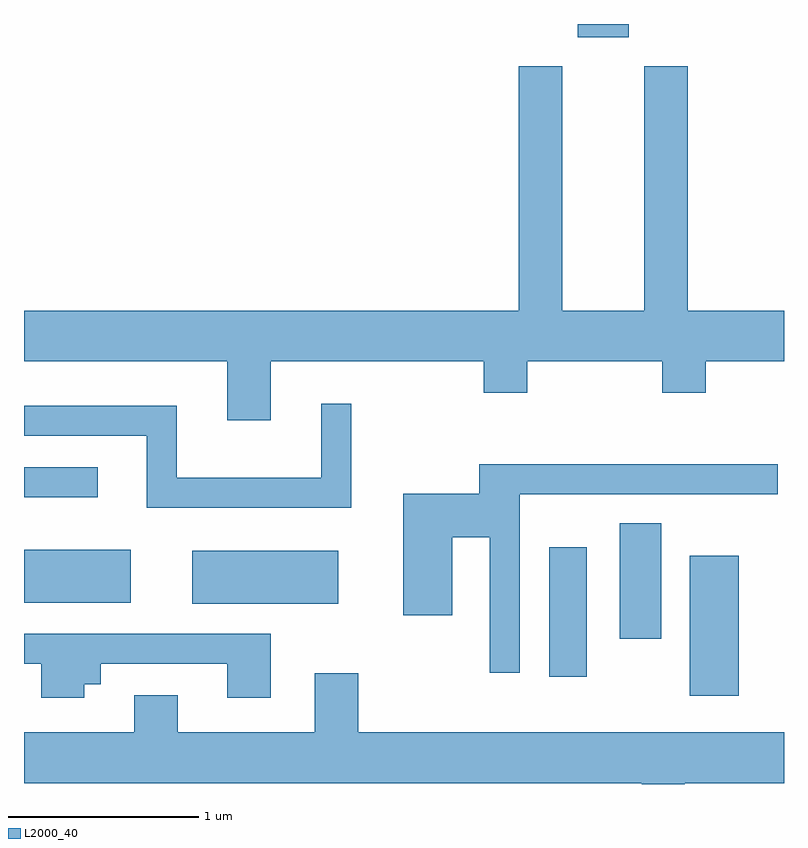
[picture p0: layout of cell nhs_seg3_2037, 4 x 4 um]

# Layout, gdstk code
import gdstk
lib = gdstk.Library(unit=1e-6, precision=1e-09)
def R(c, l, rs):  # rectangles x0, y0, x1, y1
    for r in rs: c.add(gdstk.rectangle(r[:2], r[2:], *l))
def P(c, l, *ps):  # polygons
    for p in ps: c.add(gdstk.Polygon(p, *l))
L2000_40 = (2000, 40)

nhs_seg3_2037 = lib.new_cell('nhs_seg3_2037')
R(nhs_seg3_2037, L2000_40, [(247.116,1246.356,247.374,1247.094), (246.376,1246.456,246.574,1247.139), (246.746,1246.656,246.964,1247.264), (244.496,1246.841,245.264,1247.119), (243.611,1246.846,244.174,1247.124), (243.611,1247.401,243.998,1247.559), (246.526,1249.821,246.794,1249.892)])
P(nhs_seg3_2037, L2000_40, [(243.611,1248.116),(244.681,1248.116),(244.681,1247.806),(244.909,1247.806),(244.909,1248.116),(246.031,1248.116),(246.031,1247.951),(246.259,1247.951),(246.259,1248.116),(246.971,1248.116),(246.971,1247.951),(247.199,1247.951),(247.199,1248.116),(247.611,1248.116),(247.611,1248.384),(247.104,1248.384),(247.104,1249.669),(246.876,1249.669),(246.876,1248.384),(246.444,1248.384),(246.444,1249.669),(246.216,1249.669),(246.216,1248.384),(243.611,1248.384)],
  [(245.334,1247.893),(245.176,1247.893),(245.176,1247.504),(244.414,1247.504),(244.414,1247.884),(243.611,1247.884),(243.611,1247.726),(244.256,1247.726),(244.256,1247.346),(245.334,1247.346)],
  [(246.219,1247.416),(247.578,1247.416),(247.578,1247.574),(246.006,1247.574),(246.006,1247.419),(245.606,1247.419),(245.606,1246.781),(245.864,1246.781),(245.864,1247.191),(246.061,1247.191),(246.061,1246.478),(246.219,1246.478)],
  [(243.929,1246.416),(244.014,1246.416),(244.014,1246.526),(244.681,1246.526),(244.681,1246.346),(244.909,1246.346),(244.909,1246.684),(243.611,1246.684),(243.611,1246.526),(243.701,1246.526),(243.701,1246.346),(243.929,1246.346)],
  [(247.089,1245.896),(247.611,1245.896),(247.611,1246.164),(245.369,1246.164),(245.369,1246.474),(245.141,1246.474),(245.141,1246.164),(244.419,1246.164),(244.419,1246.359),(244.191,1246.359),(244.191,1246.164),(243.611,1246.164),(243.611,1245.896),(246.861,1245.896),(246.861,1245.892),(247.089,1245.892)])

lib.write_gds('nhs_seg3_2037.gds')
